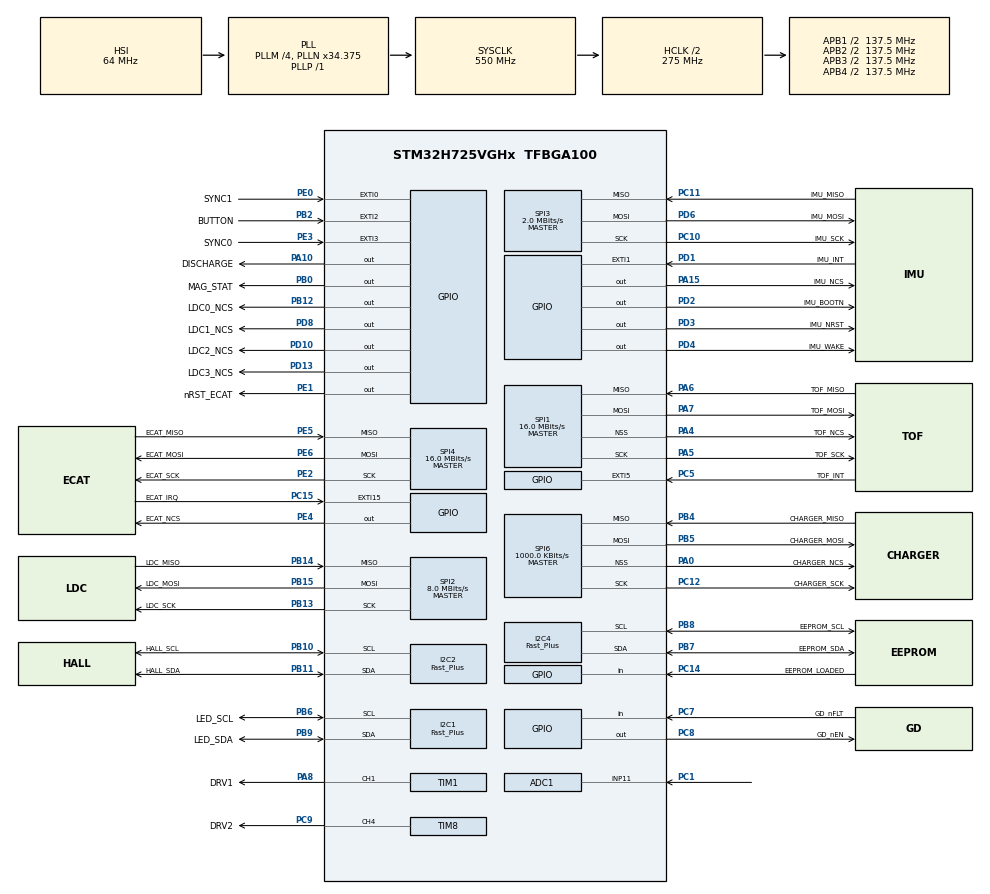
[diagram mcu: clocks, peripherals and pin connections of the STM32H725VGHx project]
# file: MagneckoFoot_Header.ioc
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ADC1.Channel-0\#ChannelRegularConversion=ADC_CHANNEL_11
ADC1.ContinuousConvMode=ENABLE
ADC1.ConversionDataManagement=ADC_CONVERSIONDATA_DMA_CIRCULAR
ADC1.ExternalTrigConv=ADC_SOFTWARE_START
ADC1.ExternalTrigConvEdge=ADC_EXTERNALTRIGCONVEDGE_NONE
ADC1.NbrOfConversionFlag=1
ADC1.OffsetNumber-0\#ChannelRegularConversion=ADC_OFFSET_NONE
ADC1.OffsetSignedSaturation-0\#ChannelRegularConversion=DISABLE
ADC1.Overrun=ADC_OVR_DATA_OVERWRITTEN
ADC1.OversamplingMode=DISABLE
ADC1.Rank-0\#ChannelRegularConversion=1
ADC1.Resolution=ADC_RESOLUTION_12B
ADC1.SamplingTime-0\#ChannelRegularConversion=ADC_SAMPLETIME_1CYCLE_5
ADC1.master=1
Bdma.Request0=SPI6_RX
Bdma.Request1=SPI6_TX
Bdma.RequestsNb=2
Bdma.SPI6_RX.0.Direction=DMA_PERIPH_TO_MEMORY
Bdma.SPI6_RX.0.EventEnable=DISABLE
Bdma.SPI6_RX.0.Instance=BDMA_Channel0
Bdma.SPI6_RX.0.MemDataAlignment=DMA_MDATAALIGN_BYTE
Bdma.SPI6_RX.0.MemInc=DMA_MINC_ENABLE
Bdma.SPI6_RX.0.Mode=DMA_NORMAL
Bdma.SPI6_RX.0.PeriphDataAlignment=DMA_PDATAALIGN_BYTE
Bdma.SPI6_RX.0.PeriphInc=DMA_PINC_DISABLE
Bdma.SPI6_RX.0.Polarity=HAL_DMAMUX_REQ_GEN_RISING
Bdma.SPI6_RX.0.Priority=DMA_PRIORITY_LOW
Bdma.SPI6_RX.0.RequestNumber=1
Bdma.SPI6_RX.0.SignalID=NONE
Bdma.SPI6_RX.0.SyncEnable=DISABLE
Bdma.SPI6_RX.0.SyncPolarity=HAL_DMAMUX_SYNC_NO_EVENT
Bdma.SPI6_RX.0.SyncRequestNumber=1
Bdma.SPI6_RX.0.SyncSignalID=NONE
Bdma.SPI6_TX.1.Direction=DMA_MEMORY_TO_PERIPH
Bdma.SPI6_TX.1.EventEnable=DISABLE
Bdma.SPI6_TX.1.Instance=BDMA_Channel1
Bdma.SPI6_TX.1.MemDataAlignment=DMA_MDATAALIGN_BYTE
Bdma.SPI6_TX.1.MemInc=DMA_MINC_ENABLE
Bdma.SPI6_TX.1.Mode=DMA_NORMAL
Bdma.SPI6_TX.1.PeriphDataAlignment=DMA_PDATAALIGN_BYTE
Bdma.SPI6_TX.1.PeriphInc=DMA_PINC_DISABLE
Bdma.SPI6_TX.1.Polarity=HAL_DMAMUX_REQ_GEN_RISING
Bdma.SPI6_TX.1.Priority=DMA_PRIORITY_LOW
Bdma.SPI6_TX.1.RequestNumber=1
Bdma.SPI6_TX.1.SignalID=NONE
Bdma.SPI6_TX.1.SyncEnable=DISABLE
Bdma.SPI6_TX.1.SyncPolarity=HAL_DMAMUX_SYNC_NO_EVENT
Bdma.SPI6_TX.1.SyncRequestNumber=1
Bdma.SPI6_TX.1.SyncSignalID=NONE
CORTEX_M7.default_mode_Activation=1
CRC.DefaultPolynomialUse=DEFAULT_POLYNOMIAL_ENABLE
Dma.ADC1.10.Direction=DMA_PERIPH_TO_MEMORY
Dma.ADC1.10.EventEnable=DISABLE
Dma.ADC1.10.FIFOMode=DMA_FIFOMODE_DISABLE
Dma.ADC1.10.Instance=DMA2_Stream2
Dma.ADC1.10.MemDataAlignment=DMA_MDATAALIGN_HALFWORD
Dma.ADC1.10.MemInc=DMA_MINC_ENABLE
Dma.ADC1.10.Mode=DMA_CIRCULAR
Dma.ADC1.10.PeriphDataAlignment=DMA_PDATAALIGN_HALFWORD
Dma.ADC1.10.PeriphInc=DMA_PINC_DISABLE
Dma.ADC1.10.Polarity=HAL_DMAMUX_REQ_GEN_RISING
Dma.ADC1.10.Priority=DMA_PRIORITY_LOW
Dma.ADC1.10.RequestNumber=1
Dma.ADC1.10.SignalID=NONE
Dma.ADC1.10.SyncEnable=DISABLE
Dma.ADC1.10.SyncPolarity=HAL_DMAMUX_SYNC_NO_EVENT
Dma.ADC1.10.SyncRequestNumber=1
Dma.ADC1.10.SyncSignalID=NONE
Dma.I2C1_RX.6.Direction=DMA_PERIPH_TO_MEMORY
Dma.I2C1_RX.6.EventEnable=DISABLE
Dma.I2C1_RX.6.FIFOMode=DMA_FIFOMODE_DISABLE
Dma.I2C1_RX.6.Instance=DMA1_Stream6
Dma.I2C1_RX.6.MemDataAlignment=DMA_MDATAALIGN_BYTE
Dma.I2C1_RX.6.MemInc=DMA_MINC_ENABLE
Dma.I2C1_RX.6.Mode=DMA_NORMAL
Dma.I2C1_RX.6.PeriphDataAlignment=DMA_PDATAALIGN_BYTE
Dma.I2C1_RX.6.PeriphInc=DMA_PINC_DISABLE
Dma.I2C1_RX.6.Polarity=HAL_DMAMUX_REQ_GEN_RISING
Dma.I2C1_RX.6.Priority=DMA_PRIORITY_LOW
Dma.I2C1_RX.6.RequestNumber=1
Dma.I2C1_RX.6.SignalID=NONE
Dma.I2C1_RX.6.SyncEnable=DISABLE
Dma.I2C1_RX.6.SyncPolarity=HAL_DMAMUX_SYNC_NO_EVENT
Dma.I2C1_RX.6.SyncRequestNumber=1
Dma.I2C1_RX.6.SyncSignalID=NONE
Dma.I2C1_TX.7.Direction=DMA_MEMORY_TO_PERIPH
Dma.I2C1_TX.7.EventEnable=DISABLE
Dma.I2C1_TX.7.FIFOMode=DMA_FIFOMODE_DISABLE
Dma.I2C1_TX.7.Instance=DMA1_Stream7
Dma.I2C1_TX.7.MemDataAlignment=DMA_MDATAALIGN_BYTE
Dma.I2C1_TX.7.MemInc=DMA_MINC_ENABLE
Dma.I2C1_TX.7.Mode=DMA_NORMAL
Dma.I2C1_TX.7.PeriphDataAlignment=DMA_PDATAALIGN_BYTE
Dma.I2C1_TX.7.PeriphInc=DMA_PINC_DISABLE
Dma.I2C1_TX.7.Polarity=HAL_DMAMUX_REQ_GEN_RISING
Dma.I2C1_TX.7.Priority=DMA_PRIORITY_LOW
Dma.I2C1_TX.7.RequestNumber=1
Dma.I2C1_TX.7.SignalID=NONE
Dma.I2C1_TX.7.SyncEnable=DISABLE
Dma.I2C1_TX.7.SyncPolarity=HAL_DMAMUX_SYNC_NO_EVENT
Dma.I2C1_TX.7.SyncRequestNumber=1
Dma.I2C1_TX.7.SyncSignalID=NONE
Dma.I2C2_RX.8.Direction=DMA_PERIPH_TO_MEMORY
Dma.I2C2_RX.8.EventEnable=DISABLE
Dma.I2C2_RX.8.FIFOMode=DMA_FIFOMODE_DISABLE
Dma.I2C2_RX.8.Instance=DMA2_Stream0
Dma.I2C2_RX.8.MemDataAlignment=DMA_MDATAALIGN_BYTE
Dma.I2C2_RX.8.MemInc=DMA_MINC_ENABLE
Dma.I2C2_RX.8.Mode=DMA_NORMAL
Dma.I2C2_RX.8.PeriphDataAlignment=DMA_PDATAALIGN_BYTE
Dma.I2C2_RX.8.PeriphInc=DMA_PINC_DISABLE
Dma.I2C2_RX.8.Polarity=HAL_DMAMUX_REQ_GEN_RISING
Dma.I2C2_RX.8.Priority=DMA_PRIORITY_LOW
Dma.I2C2_RX.8.RequestNumber=1
Dma.I2C2_RX.8.SignalID=NONE
Dma.I2C2_RX.8.SyncEnable=DISABLE
Dma.I2C2_RX.8.SyncPolarity=HAL_DMAMUX_SYNC_NO_EVENT
Dma.I2C2_RX.8.SyncRequestNumber=1
Dma.I2C2_RX.8.SyncSignalID=NONE
Dma.I2C2_TX.9.Direction=DMA_MEMORY_TO_PERIPH
Dma.I2C2_TX.9.EventEnable=DISABLE
Dma.I2C2_TX.9.FIFOMode=DMA_FIFOMODE_DISABLE
Dma.I2C2_TX.9.Instance=DMA2_Stream1
Dma.I2C2_TX.9.MemDataAlignment=DMA_MDATAALIGN_BYTE
Dma.I2C2_TX.9.MemInc=DMA_MINC_ENABLE
Dma.I2C2_TX.9.Mode=DMA_NORMAL
Dma.I2C2_TX.9.PeriphDataAlignment=DMA_PDATAALIGN_BYTE
Dma.I2C2_TX.9.PeriphInc=DMA_PINC_DISABLE
Dma.I2C2_TX.9.Polarity=HAL_DMAMUX_REQ_GEN_RISING
Dma.I2C2_TX.9.Priority=DMA_PRIORITY_LOW
Dma.I2C2_TX.9.RequestNumber=1
Dma.I2C2_TX.9.SignalID=NONE
Dma.I2C2_TX.9.SyncEnable=DISABLE
Dma.I2C2_TX.9.SyncPolarity=HAL_DMAMUX_SYNC_NO_EVENT
Dma.I2C2_TX.9.SyncRequestNumber=1
Dma.I2C2_TX.9.SyncSignalID=NONE
Dma.Request0=SPI1_RX
Dma.Request1=SPI1_TX
Dma.Request10=ADC1
Dma.Request2=SPI2_RX
Dma.Request3=SPI2_TX
Dma.Request4=SPI3_RX
Dma.Request5=SPI3_TX
Dma.Request6=I2C1_RX
Dma.Request7=I2C1_TX
Dma.Request8=I2C2_RX
Dma.Request9=I2C2_TX
Dma.SPI1_RX.0.Direction=DMA_PERIPH_TO_MEMORY
Dma.SPI1_RX.0.EventEnable=DISABLE
Dma.SPI1_RX.0.FIFOMode=DMA_FIFOMODE_DISABLE
Dma.SPI1_RX.0.Instance=DMA1_Stream0
Dma.SPI1_RX.0.MemDataAlignment=DMA_MDATAALIGN_BYTE
Dma.SPI1_RX.0.MemInc=DMA_MINC_ENABLE
Dma.SPI1_RX.0.Mode=DMA_NORMAL
Dma.SPI1_RX.0.PeriphDataAlignment=DMA_PDATAALIGN_BYTE
Dma.SPI1_RX.0.PeriphInc=DMA_PINC_DISABLE
Dma.SPI1_RX.0.Polarity=HAL_DMAMUX_REQ_GEN_RISING
Dma.SPI1_RX.0.Priority=DMA_PRIORITY_LOW
Dma.SPI1_RX.0.RequestNumber=1
Dma.SPI1_RX.0.SignalID=NONE
Dma.SPI1_RX.0.SyncEnable=DISABLE
Dma.SPI1_RX.0.SyncPolarity=HAL_DMAMUX_SYNC_NO_EVENT
Dma.SPI1_RX.0.SyncRequestNumber=1
Dma.SPI1_RX.0.SyncSignalID=NONE
Dma.SPI1_TX.1.Direction=DMA_MEMORY_TO_PERIPH
Dma.SPI1_TX.1.EventEnable=DISABLE
Dma.SPI1_TX.1.FIFOMode=DMA_FIFOMODE_DISABLE
Dma.SPI1_TX.1.Instance=DMA1_Stream1
Dma.SPI1_TX.1.MemDataAlignment=DMA_MDATAALIGN_BYTE
Dma.SPI1_TX.1.MemInc=DMA_MINC_ENABLE
Dma.SPI1_TX.1.Mode=DMA_NORMAL
Dma.SPI1_TX.1.PeriphDataAlignment=DMA_PDATAALIGN_BYTE
Dma.SPI1_TX.1.PeriphInc=DMA_PINC_DISABLE
Dma.SPI1_TX.1.Polarity=HAL_DMAMUX_REQ_GEN_RISING
Dma.SPI1_TX.1.Priority=DMA_PRIORITY_LOW
Dma.SPI1_TX.1.RequestNumber=1
Dma.SPI1_TX.1.SignalID=NONE
Dma.SPI1_TX.1.SyncEnable=DISABLE
Dma.SPI1_TX.1.SyncPolarity=HAL_DMAMUX_SYNC_NO_EVENT
Dma.SPI1_TX.1.SyncRequestNumber=1
Dma.SPI1_TX.1.SyncSignalID=NONE
Dma.SPI2_RX.2.Direction=DMA_PERIPH_TO_MEMORY
Dma.SPI2_RX.2.EventEnable=DISABLE
Dma.SPI2_RX.2.FIFOMode=DMA_FIFOMODE_DISABLE
Dma.SPI2_RX.2.Instance=DMA1_Stream2
Dma.SPI2_RX.2.MemDataAlignment=DMA_MDATAALIGN_BYTE
Dma.SPI2_RX.2.MemInc=DMA_MINC_ENABLE
Dma.SPI2_RX.2.Mode=DMA_NORMAL
Dma.SPI2_RX.2.PeriphDataAlignment=DMA_PDATAALIGN_BYTE
Dma.SPI2_RX.2.PeriphInc=DMA_PINC_DISABLE
Dma.SPI2_RX.2.Polarity=HAL_DMAMUX_REQ_GEN_RISING
Dma.SPI2_RX.2.Priority=DMA_PRIORITY_LOW
Dma.SPI2_RX.2.RequestNumber=1
Dma.SPI2_RX.2.SignalID=NONE
Dma.SPI2_RX.2.SyncEnable=DISABLE
Dma.SPI2_RX.2.SyncPolarity=HAL_DMAMUX_SYNC_NO_EVENT
Dma.SPI2_RX.2.SyncRequestNumber=1
Dma.SPI2_RX.2.SyncSignalID=NONE
Dma.SPI2_TX.3.Direction=DMA_MEMORY_TO_PERIPH
Dma.SPI2_TX.3.EventEnable=DISABLE
Dma.SPI2_TX.3.FIFOMode=DMA_FIFOMODE_DISABLE
Dma.SPI2_TX.3.Instance=DMA1_Stream3
Dma.SPI2_TX.3.MemDataAlignment=DMA_MDATAALIGN_BYTE
Dma.SPI2_TX.3.MemInc=DMA_MINC_ENABLE
Dma.SPI2_TX.3.Mode=DMA_NORMAL
Dma.SPI2_TX.3.PeriphDataAlignment=DMA_PDATAALIGN_BYTE
Dma.SPI2_TX.3.PeriphInc=DMA_PINC_DISABLE
Dma.SPI2_TX.3.Polarity=HAL_DMAMUX_REQ_GEN_RISING
Dma.SPI2_TX.3.Priority=DMA_PRIORITY_LOW
Dma.SPI2_TX.3.RequestNumber=1
Dma.SPI2_TX.3.SignalID=NONE
Dma.SPI2_TX.3.SyncEnable=DISABLE
Dma.SPI2_TX.3.SyncPolarity=HAL_DMAMUX_SYNC_NO_EVENT
Dma.SPI2_TX.3.SyncRequestNumber=1
Dma.SPI2_TX.3.SyncSignalID=NONE
Dma.SPI3_RX.4.Direction=DMA_PERIPH_TO_MEMORY
Dma.SPI3_RX.4.EventEnable=DISABLE
Dma.SPI3_RX.4.FIFOMode=DMA_FIFOMODE_DISABLE
Dma.SPI3_RX.4.Instance=DMA1_Stream4
Dma.SPI3_RX.4.MemDataAlignment=DMA_MDATAALIGN_BYTE
Dma.SPI3_RX.4.MemInc=DMA_MINC_ENABLE
Dma.SPI3_RX.4.Mode=DMA_NORMAL
Dma.SPI3_RX.4.PeriphDataAlignment=DMA_PDATAALIGN_BYTE
Dma.SPI3_RX.4.PeriphInc=DMA_PINC_DISABLE
Dma.SPI3_RX.4.Polarity=HAL_DMAMUX_REQ_GEN_RISING
Dma.SPI3_RX.4.Priority=DMA_PRIORITY_LOW
Dma.SPI3_RX.4.RequestNumber=1
Dma.SPI3_RX.4.SignalID=NONE
Dma.SPI3_RX.4.SyncEnable=DISABLE
Dma.SPI3_RX.4.SyncPolarity=HAL_DMAMUX_SYNC_NO_EVENT
Dma.SPI3_RX.4.SyncRequestNumber=1
Dma.SPI3_RX.4.SyncSignalID=NONE
Dma.SPI3_TX.5.Direction=DMA_MEMORY_TO_PERIPH
Dma.SPI3_TX.5.EventEnable=DISABLE
Dma.SPI3_TX.5.FIFOMode=DMA_FIFOMODE_DISABLE
Dma.SPI3_TX.5.Instance=DMA1_Stream5
Dma.SPI3_TX.5.MemDataAlignment=DMA_MDATAALIGN_BYTE
Dma.SPI3_TX.5.MemInc=DMA_MINC_ENABLE
Dma.SPI3_TX.5.Mode=DMA_NORMAL
Dma.SPI3_TX.5.PeriphDataAlignment=DMA_PDATAALIGN_BYTE
Dma.SPI3_TX.5.PeriphInc=DMA_PINC_DISABLE
Dma.SPI3_TX.5.Polarity=HAL_DMAMUX_REQ_GEN_RISING
Dma.SPI3_TX.5.Priority=DMA_PRIORITY_LOW
Dma.SPI3_TX.5.RequestNumber=1
Dma.SPI3_TX.5.SignalID=NONE
Dma.SPI3_TX.5.SyncEnable=DISABLE
Dma.SPI3_TX.5.SyncPolarity=HAL_DMAMUX_SYNC_NO_EVENT
Dma.SPI3_TX.5.SyncRequestNumber=1
Dma.SPI3_TX.5.SyncSignalID=NONE
I2C1.I2C_Speed_Mode=I2C_Fast_Plus
I2C1.Timing=0x00601A5C
I2C2.Analog_Filter=I2C_ANALOGFILTER_DISABLE
I2C2.I2C_Fall_Time=55
I2C2.I2C_Rise_Time=120
I2C2.I2C_Speed_Mode=I2C_Fast_Plus
I2C2.OwnAddress=127
I2C2.Timing=0x10B01025
I2C4.I2C_Speed_Mode=I2C_Fast_Plus
I2C4.Timing=0x00601A5C
Mcu.Family=STM32H7
Mcu.Name=STM32H725VGHx
Mcu.Package=TFBGA100
NVIC.BDMA_Channel0_IRQn=true\:6\:0\:true\:false\:true\:false\:true\:true
NVIC.BDMA_Channel1_IRQn=true\:6\:0\:true\:false\:true\:false\:true\:true
NVIC.DMA1_Stream0_IRQn=true\:6\:0\:true\:false\:true\:false\:true\:true
NVIC.DMA1_Stream1_IRQn=true\:6\:0\:true\:false\:true\:false\:true\:true
NVIC.DMA1_Stream2_IRQn=true\:6\:0\:true\:false\:true\:false\:true\:true
NVIC.DMA1_Stream3_IRQn=true\:6\:0\:true\:false\:true\:false\:true\:true
NVIC.DMA1_Stream4_IRQn=true\:6\:0\:true\:false\:true\:false\:true\:true
NVIC.DMA1_Stream5_IRQn=true\:6\:0\:true\:false\:true\:false\:true\:true
NVIC.DMA1_Stream6_IRQn=true\:6\:0\:true\:false\:true\:false\:true\:true
NVIC.DMA1_Stream7_IRQn=true\:6\:0\:false\:false\:true\:false\:true\:true
NVIC.DMA2_Stream0_IRQn=true\:6\:0\:true\:false\:true\:false\:true\:true
NVIC.DMA2_Stream1_IRQn=true\:6\:0\:true\:false\:true\:false\:true\:true
NVIC.EXTI1_IRQn=true\:6\:0\:true\:false\:true\:true\:true\:true
NVIC.EXTI2_IRQn=true\:6\:0\:true\:false\:true\:true\:true\:true
NVIC.EXTI9_5_IRQn=true\:6\:0\:true\:false\:true\:true\:true\:true
NVIC.I2C1_ER_IRQn=true\:6\:0\:false\:false\:true\:true\:true\:true
NVIC.I2C1_EV_IRQn=true\:6\:0\:false\:false\:true\:true\:true\:true
NVIC.I2C2_ER_IRQn=true\:6\:0\:true\:false\:true\:true\:true\:true
NVIC.I2C4_EV_IRQn=true\:6\:0\:true\:false\:true\:true\:true\:true
NVIC.I2C4_ER_IRQn=true\:6\:0\:true\:false\:true\:true\:true\:true
NVIC.I2C2_EV_IRQn=true\:6\:0\:true\:false\:true\:true\:true\:true
NVIC.PriorityGroup=NVIC_PRIORITYGROUP_4
NVIC.SPI1_IRQn=true\:6\:0\:true\:false\:true\:false\:true\:true
NVIC.SPI2_IRQn=true\:6\:0\:true\:false\:true\:false\:true\:true
NVIC.SPI4_IRQn=true\:6\:0\:true\:false\:true\:true\:true\:true
NVIC.SPI3_IRQn=true\:6\:0\:true\:false\:true\:false\:true\:true
NVIC.SPI6_IRQn=true\:6\:0\:true\:false\:true\:false\:true\:true
NVIC.TIM2_IRQn=true\:5\:0\:true\:false\:true\:true\:true\:true
NVIC.TIM4_IRQn=true\:6\:0\:true\:false\:true\:true\:true\:true
NVIC.TIM5_IRQn=true\:6\:0\:true\:false\:true\:true\:true\:true
NVIC.TIM6_DAC_IRQn=true\:6\:0\:true\:false\:true\:true\:true\:true
PA0.GPIO_Label=CHARGER_NCS
PA0.Mode=NSS_Signal_Hard_Output
PA0.Signal=SPI6_NSS
PA10.GPIO_Label=DISCHARGE
PA10.Signal=GPIO_Output
PA13(JTMS/SWDIO).Mode=Trace_Asynchronous_SW
PA13(JTMS/SWDIO).Signal=DEBUG_JTMS-SWDIO
PA14(JTCK/SWCLK).Mode=Trace_Asynchronous_SW
PA14(JTCK/SWCLK).Signal=DEBUG_JTCK-SWCLK
PA15(JTDI).GPIO_Label=IMU_NCS
PA15(JTDI).PinState=GPIO_PIN_SET
PA15(JTDI).Signal=GPIO_Output
PA4.GPIO_Label=TOF_NCS
PA4.Mode=NSS_Signal_Hard_Output
PA4.Signal=SPI1_NSS
PA5.GPIO_Label=TOF_SCK
PA5.Mode=Full_Duplex_Master
PA5.Signal=SPI1_SCK
PA6.GPIO_Label=TOF_MISO
PA6.Mode=Full_Duplex_Master
PA6.Signal=SPI1_MISO
PA7.GPIO_Label=TOF_MOSI
PA7.Mode=Full_Duplex_Master
PA7.Signal=SPI1_MOSI
PA8.GPIO_Label=DRV1
PA8.Signal=S_TIM1_CH1
PB0.GPIO_Label=MAG_STAT
PB0.Signal=GPIO_Output
PB10.GPIO_Label=HALL_SCL
PB10.Mode=I2C
PB10.Signal=I2C2_SCL
PB11.GPIO_Label=HALL_SDA
PB11.Mode=I2C
PB11.Signal=I2C2_SDA
PB12.GPIO_Label=LDC0_NCS
PB12.GPIO_Speed=GPIO_SPEED_FREQ_HIGH
PB12.PinState=GPIO_PIN_SET
PB12.Signal=GPIO_Output
PB13.GPIO_Label=LDC_SCK
PB13.Mode=Full_Duplex_Master
PB13.Signal=SPI2_SCK
PB14.GPIO_Label=LDC_MISO
PB14.Mode=Full_Duplex_Master
PB14.Signal=SPI2_MISO
PB15.GPIO_Label=LDC_MOSI
PB15.Mode=Full_Duplex_Master
PB15.Signal=SPI2_MOSI
PB2.GPIO_Label=BUTTON
PB2.GPIO_ModeDefaultEXTI=GPIO_MODE_IT_RISING_FALLING
PB2.GPIO_PuPd=GPIO_PULLUP
PB2.Signal=GPXTI2
PB3(JTDO/TRACESWO).Mode=Trace_Asynchronous_SW
PB3(JTDO/TRACESWO).Signal=DEBUG_JTDO-SWO
PB4(NJTRST).GPIO_Label=CHARGER_MISO
PB4(NJTRST).Mode=Full_Duplex_Master
PB4(NJTRST).Signal=SPI6_MISO
PB5.GPIO_Label=CHARGER_MOSI
PB5.Mode=Full_Duplex_Master
PB5.Signal=SPI6_MOSI
PB6.GPIO_Label=LED_SCL
PB6.Mode=I2C
PB6.Signal=I2C1_SCL
PB7.GPIO_Label=EEPROM_SDA
PB7.Mode=I2C
PB7.Signal=I2C4_SDA
PB8.GPIO_Label=EEPROM_SCL
PB8.Mode=I2C
PB8.Signal=I2C4_SCL
PB9.GPIO_Label=LED_SDA
PB9.Mode=I2C
PB9.Signal=I2C1_SDA
PC1.Signal=ADCx_INP11
PC10.GPIO_Label=IMU_SCK
PC10.GPIO_Speed=GPIO_SPEED_FREQ_HIGH
PC10.Mode=Full_Duplex_Master
PC10.Signal=SPI3_SCK
PC11.GPIO_Label=IMU_MISO
PC11.GPIO_Speed=GPIO_SPEED_FREQ_HIGH
PC11.Mode=Full_Duplex_Master
PC11.Signal=SPI3_MISO
PC12.GPIO_Label=CHARGER_SCK
PC12.Mode=Full_Duplex_Master
PC12.Signal=SPI6_SCK
PC14-OSC32_IN.GPIO_Label=EEPROM_LOADED
PC14-OSC32_IN.Signal=GPIO_Input
PC15-OSC32_OUT.GPIO_Label=ECAT_IRQ
PC15-OSC32_OUT.Signal=GPXTI15
PC5.GPIO_Label=TOF_INT
PC5.GPIO_ModeDefaultEXTI=GPIO_MODE_IT_FALLING
PC5.Signal=GPXTI5
PC7.GPIO_Label=GD_nFLT
PC7.Signal=GPIO_Input
PC8.GPIO_Label=GD_nEN
PC8.GPIO_ModeDefaultOutputPP=GPIO_MODE_OUTPUT_OD
PC8.GPIO_PuPd=GPIO_NOPULL
PC8.PinState=GPIO_PIN_SET
PC8.Signal=GPIO_Output
PC9.GPIO_Label=DRV2
PC9.GPIO_PuPd=GPIO_PULLDOWN
PC9.Signal=S_TIM8_CH4
PD1.GPIO_Label=IMU_INT
PD1.GPIO_ModeDefaultEXTI=GPIO_MODE_IT_FALLING
PD1.Signal=GPXTI1
PD10.GPIO_Label=LDC2_NCS
PD10.GPIO_Speed=GPIO_SPEED_FREQ_HIGH
PD10.PinState=GPIO_PIN_SET
PD10.Signal=GPIO_Output
PD13.GPIO_Label=LDC3_NCS
PD13.GPIO_Speed=GPIO_SPEED_FREQ_HIGH
PD13.PinState=GPIO_PIN_SET
PD13.Signal=GPIO_Output
PD2.GPIO_Label=IMU_BOOTN
PD2.PinState=GPIO_PIN_SET
PD2.Signal=GPIO_Output
PD3.GPIO_Label=IMU_NRST
PD3.PinState=GPIO_PIN_SET
PD3.Signal=GPIO_Output
PD4.GPIO_Label=IMU_WAKE
PD4.PinState=GPIO_PIN_SET
PD4.Signal=GPIO_Output
PD6.GPIO_Label=IMU_MOSI
PD6.GPIO_Speed=GPIO_SPEED_FREQ_HIGH
PD6.Mode=Full_Duplex_Master
PD6.Signal=SPI3_MOSI
PD8.GPIO_Label=LDC1_NCS
PD8.GPIO_Speed=GPIO_SPEED_FREQ_HIGH
PD8.PinState=GPIO_PIN_SET
PD8.Signal=GPIO_Output
PE0.GPIO_Label=SYNC1
PE0.Signal=GPXTI0
PE1.GPIO_Label=nRST_ECAT
PE1.GPIO_ModeDefaultOutputPP=GPIO_MODE_OUTPUT_OD
PE1.GPIO_PuPd=GPIO_NOPULL
PE1.PinState=GPIO_PIN_SET
PE1.Signal=GPIO_Output
PE2.GPIO_Label=ECAT_SCK
PE2.Mode=Full_Duplex_Master
PE2.Signal=SPI4_SCK
PE3.GPIO_Label=SYNC0
PE3.Signal=GPXTI3
PE4.GPIO_Label=ECAT_NCS
PE4.GPIO_Speed=GPIO_SPEED_FREQ_HIGH
PE4.PinState=GPIO_PIN_SET
PE4.Signal=GPIO_Output
PE5.GPIO_Label=ECAT_MISO
PE5.Mode=Full_Duplex_Master
PE5.Signal=SPI4_MISO
PE6.GPIO_Label=ECAT_MOSI
PE6.Mode=Full_Duplex_Master
PE6.Signal=SPI4_MOSI
ProjectManager.HeapSize=0x200
ProjectManager.StackSize=0x400
ProjectManager.TargetToolchain=CMake
RCC.ADCFreq_Value=129000000
RCC.APB1Freq_Value=137500000
RCC.APB2Freq_Value=137500000
RCC.APB3Freq_Value=137500000
RCC.APB4Freq_Value=137500000
RCC.CortexFreq_Value=550000000
RCC.D1PPRE=RCC_APB3_DIV2
RCC.D2PPRE1=RCC_APB1_DIV2
RCC.D2PPRE2=RCC_APB2_DIV2
RCC.D3PPRE=RCC_APB4_DIV2
RCC.DIVM1=4
RCC.DIVN1=34
RCC.DIVP1=1
RCC.DIVQ1=3
RCC.HCLKFreq_Value=275000000
RCC.HPRE=RCC_HCLK_DIV2
RCC.PLL2FRACN=0
RCC.PLL3FRACN=0
RCC.PLLFRACN=3072
RCC.SPI123CLockSelection=RCC_SPI123CLKSOURCE_CLKP
RCC.SPI6CLockSelection=RCC_SPI6CLKSOURCE_HSI
RCC.SYSCLKFreq_VALUE=550000000
RCC.SYSCLKSource=RCC_SYSCLKSOURCE_PLLCLK
RCC.Spi45ClockSelection=RCC_SPI45CLKSOURCE_HSI
RCC.USBFreq_Value=183333333.33333334
SH.ADCx_INP11.0=ADC1_INP11,IN11-Single-Ended
SH.S_TIM1_CH1.0=TIM1_CH1,PWM Generation1 CH1
SH.S_TIM8_CH4.0=TIM8_CH4,PWM Generation4 CH4
SPI1.BaudRatePrescaler=SPI_BAUDRATEPRESCALER_4
SPI1.CalculateBaudRate=16.0 MBits/s
SPI1.DataSize=SPI_DATASIZE_8BIT
SPI1.Direction=SPI_DIRECTION_2LINES
SPI1.MasterKeepIOState=SPI_MASTER_KEEP_IO_STATE_ENABLE
SPI1.Mode=SPI_MODE_MASTER
SPI1.NSSPMode=SPI_NSS_PULSE_DISABLE
SPI1.VirtualNSS=VM_NSSHARD
SPI1.VirtualType=VM_MASTER
SPI2.BaudRatePrescaler=SPI_BAUDRATEPRESCALER_8
SPI2.CalculateBaudRate=8.0 MBits/s
SPI2.DataSize=SPI_DATASIZE_8BIT
SPI2.Direction=SPI_DIRECTION_2LINES
SPI2.FirstBit=SPI_FIRSTBIT_MSB
SPI2.MasterKeepIOState=SPI_MASTER_KEEP_IO_STATE_ENABLE
SPI2.Mode=SPI_MODE_MASTER
SPI2.NSSPMode=SPI_NSS_PULSE_DISABLE
SPI2.VirtualType=VM_MASTER
SPI3.BaudRatePrescaler=SPI_BAUDRATEPRESCALER_32
SPI3.CLKPhase=SPI_PHASE_2EDGE
SPI3.CLKPolarity=SPI_POLARITY_HIGH
SPI3.CalculateBaudRate=2.0 MBits/s
SPI3.DataSize=SPI_DATASIZE_8BIT
SPI3.Direction=SPI_DIRECTION_2LINES
SPI3.MasterKeepIOState=SPI_MASTER_KEEP_IO_STATE_ENABLE
SPI3.Mode=SPI_MODE_MASTER
SPI3.NSSPMode=SPI_NSS_PULSE_DISABLE
SPI3.VirtualType=VM_MASTER
SPI4.BaudRatePrescaler=SPI_BAUDRATEPRESCALER_4
SPI4.CLKPhase=SPI_PHASE_2EDGE
SPI4.CLKPolarity=SPI_POLARITY_HIGH
SPI4.CalculateBaudRate=16.0 MBits/s
SPI4.DataSize=SPI_DATASIZE_8BIT
SPI4.Direction=SPI_DIRECTION_2LINES
SPI4.MasterKeepIOState=SPI_MASTER_KEEP_IO_STATE_ENABLE
SPI4.Mode=SPI_MODE_MASTER
SPI4.NSSPMode=SPI_NSS_PULSE_DISABLE
SPI4.VirtualType=VM_MASTER
SPI6.BaudRatePrescaler=SPI_BAUDRATEPRESCALER_64
SPI6.CLKPhase=SPI_PHASE_2EDGE
SPI6.CLKPolarity=SPI_POLARITY_HIGH
SPI6.CalculateBaudRate=1000.0 KBits/s
SPI6.DataSize=SPI_DATASIZE_8BIT
SPI6.Direction=SPI_DIRECTION_2LINES
SPI6.MasterKeepIOState=SPI_MASTER_KEEP_IO_STATE_ENABLE
SPI6.Mode=SPI_MODE_MASTER
SPI6.NSSPMode=SPI_NSS_PULSE_DISABLE
SPI6.VirtualNSS=VM_NSSHARD
SPI6.VirtualType=VM_MASTER
TIM1.Channel-PWM\ Generation1\ CH1=TIM_CHANNEL_1
TIM1.OCPolarity_1=TIM_OCPOLARITY_LOW
TIM1.Period=20000
TIM1.Prescaler=275-1
TIM1.Pulse-PWM\ Generation1\ CH1=1000
TIM2.Period=1000-1
TIM2.Prescaler=275-1
TIM3.Period=20000
TIM3.Prescaler=275-1
TIM4.Period=2500-1
TIM4.Prescaler=275-1
TIM4.TIM_MasterOutputTrigger=TIM_TRGO_RESET
TIM5.Period=10000-1
TIM5.Prescaler=27500-1
TIM6.Prescaler=2750-1
TIM8.Channel-PWM\ Generation4\ CH4=TIM_CHANNEL_4
TIM8.OCPolarity_4=TIM_OCPOLARITY_LOW
TIM8.Period=20000
TIM8.Prescaler=275-1
TIM8.Pulse-PWM\ Generation4\ CH4=1000
VP_CRC_VS_CRC.Mode=CRC_Activate
VP_MEMORYMAP_VS_MEMORYMAP.Mode=CurAppReg
VP_TIM1_VS_ClockSourceINT.Mode=Internal
VP_TIM1_VS_OPM.Mode=OPM_bit
VP_TIM2_VS_ClockSourceINT.Mode=Internal
VP_TIM3_VS_OPM.Mode=OPM_bit
VP_TIM4_VS_ClockSourceINT.Mode=Internal
VP_TIM5_VS_ClockSourceINT.Mode=Internal
VP_TIM6_VS_ClockSourceINT.Mode=Enable_Timer
VP_TIM8_VS_ClockSourceINT.Mode=Internal
VP_TIM8_VS_OPM.Mode=OPM_bit
board=custom

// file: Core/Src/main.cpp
/* USER CODE BEGIN Header */
/**
  ******************************************************************************
  * @file           : main.c
  * @brief          : Main program body
  ******************************************************************************
  * @attention
  *
  * Copyright (c) 2025 STMicroelectronics.
  * All rights reserved.
  *
  * This software is licensed under terms that can be found in the LICENSE file
  * in the root directory of this software component.
  * If no LICENSE file comes with this software, it is provided AS-IS.
  *
  ******************************************************************************
  */
/* USER CODE END Header */
#include "main.h"
#include "adc.h"
#include "bdma.h"
#include "crc.h"
#include "dma.h"
#include "i2c.h"
#include "spi.h"
#include "tim.h"
#include "gpio.h"

/* USER CODE BEGIN Includes */
#include "FootController.h"
#include "app_runtime.h"
#include "utils.h"
#include <stdio.h>
#include <cstring>

/* USER CODE END Includes */

/* USER CODE BEGIN PV */
_Objects Obj = {};
FootController __attribute__((section(".RAM"))) controller = FootController();

/* USER CODE END PV */

void SystemClock_Config(void);
void PeriphCommonClock_Config(void);
static void MPU_Config(void);
/* USER CODE BEGIN PFP */

/**
 * This function is called when to get input values
 */
void cb_get_inputs()
{
  controller.fsm_.setControlWord(Obj.Control_Word);

  //Magnetize on GPIO0 rising edge
  if((Obj.Magnet_Command & 0x01) && !controller.prev_mag)
  {
    controller.requested_magnetization = true; //Set requested magnetization state
  }
  if((Obj.Magnet_Command & 0x02) && !controller.prev_demag)
  {
    controller.requested_demagnetization = true; //Set requested demagnetization state
  }
  if(controller.requested_magnetization && controller.requested_demagnetization)
  {
    //If both magnetization and demagnetization are requested, reset both states
    controller.requested_magnetization = false;
    controller.requested_demagnetization = false;
  }

  controller.prev_mag = static_cast<bool>(Obj.Magnet_Command & 0x01);
  controller.prev_demag = static_cast<bool>(Obj.Magnet_Command & 0x02);
}

/**
* This function is called when to set outputs values
 */
void cb_set_outputs()
{
  Obj.Status_Word = controller.fsm_.getStatusWord();

}

/* USER CODE END PFP */

int main(void)
{

  /* MPU Configuration--------------------------------------------------------*/
  MPU_Config();

  /* MCU Configuration--------------------------------------------------------*/

  /* Reset of all peripherals, Initializes the Flash interface and the Systick. */
  HAL_Init();

  /* Configure the system clock */
  SystemClock_Config();

  /* Configure the peripherals common clocks */
  PeriphCommonClock_Config();

  /* Initialize all configured peripherals */
  MX_GPIO_Init();
  MX_DMA_Init();
  MX_BDMA_Init();
  MX_I2C1_Init();
  MX_I2C2_Init();
  MX_SPI1_Init();
  MX_SPI2_Init();
  MX_SPI3_Init();
  MX_SPI4_Init();
  MX_SPI6_Init();
  MX_TIM3_Init();
  MX_TIM1_Init();
  MX_TIM2_Init();
  MX_TIM4_Init();
  MX_TIM5_Init();
  MX_ADC1_Init();
  MX_I2C4_Init();
  MX_TIM6_Init();
  MX_TIM8_Init();
  MX_CRC_Init();
  /* USER CODE BEGIN 2 */
  SWD_Init();
  App_Start();

  /* USER CODE END 2 */

  /* Infinite loop */
  /* USER CODE BEGIN WHILE */
  while (1) { } // App_Start() does not return.
  /* USER CODE END 3 */
}

void SystemClock_Config(void)
{
  RCC_OscInitTypeDef RCC_OscInitStruct = {0};
  RCC_ClkInitTypeDef RCC_ClkInitStruct = {0};

  /** Supply configuration update enable
  */
  HAL_PWREx_ConfigSupply(PWR_DIRECT_SMPS_SUPPLY);

  /** Configure the main internal regulator output voltage
  */
  __HAL_PWR_VOLTAGESCALING_CONFIG(PWR_REGULATOR_VOLTAGE_SCALE0);

  while(!__HAL_PWR_GET_FLAG(PWR_FLAG_VOSRDY)) {}

  /** Initializes the RCC Oscillators according to the specified parameters
  * in the RCC_OscInitTypeDef structure.
  */
  RCC_OscInitStruct.OscillatorType = RCC_OSCILLATORTYPE_HSI;
  RCC_OscInitStruct.HSIState = RCC_HSI_DIV1;
  RCC_OscInitStruct.HSICalibrationValue = 64;
  RCC_OscInitStruct.PLL.PLLState = RCC_PLL_ON;
  RCC_OscInitStruct.PLL.PLLSource = RCC_PLLSOURCE_HSI;
  RCC_OscInitStruct.PLL.PLLM = 4;
  RCC_OscInitStruct.PLL.PLLN = 34;
  RCC_OscInitStruct.PLL.PLLP = 1;
  RCC_OscInitStruct.PLL.PLLQ = 3;
  RCC_OscInitStruct.PLL.PLLR = 2;
  RCC_OscInitStruct.PLL.PLLRGE = RCC_PLL1VCIRANGE_3;
  RCC_OscInitStruct.PLL.PLLVCOSEL = RCC_PLL1VCOWIDE;
  RCC_OscInitStruct.PLL.PLLFRACN = 3072;
  if (HAL_RCC_OscConfig(&RCC_OscInitStruct) != HAL_OK)
  {
    Error_Handler();
  }

  /** Initializes the CPU, AHB and APB buses clocks
  */
  RCC_ClkInitStruct.ClockType = RCC_CLOCKTYPE_HCLK|RCC_CLOCKTYPE_SYSCLK
                              |RCC_CLOCKTYPE_PCLK1|RCC_CLOCKTYPE_PCLK2
                              |RCC_CLOCKTYPE_D3PCLK1|RCC_CLOCKTYPE_D1PCLK1;
  RCC_ClkInitStruct.SYSCLKSource = RCC_SYSCLKSOURCE_PLLCLK;
  RCC_ClkInitStruct.SYSCLKDivider = RCC_SYSCLK_DIV1;
  RCC_ClkInitStruct.AHBCLKDivider = RCC_HCLK_DIV2;
  RCC_ClkInitStruct.APB3CLKDivider = RCC_APB3_DIV2;
  RCC_ClkInitStruct.APB1CLKDivider = RCC_APB1_DIV2;
  RCC_ClkInitStruct.APB2CLKDivider = RCC_APB2_DIV2;
  RCC_ClkInitStruct.APB4CLKDivider = RCC_APB4_DIV2;

  if (HAL_RCC_ClockConfig(&RCC_ClkInitStruct, FLASH_LATENCY_3) != HAL_OK)
  {
    Error_Handler();
  }
}

void PeriphCommonClock_Config(void)
{
  RCC_PeriphCLKInitTypeDef PeriphClkInitStruct = {0};

  /** Initializes the peripherals clock
  */
  PeriphClkInitStruct.PeriphClockSelection = RCC_PERIPHCLK_CKPER;
  PeriphClkInitStruct.CkperClockSelection = RCC_CLKPSOURCE_HSI;
  if (HAL_RCCEx_PeriphCLKConfig(&PeriphClkInitStruct) != HAL_OK)
  {
    Error_Handler();
  }
}

/* USER CODE BEGIN 4 */
void HAL_GPIO_EXTI_Callback(uint16_t pin)
{
  if (pin == IMU_INT_Pin) App_ImuReadyISR();
  else if (pin == TOF_INT_Pin) App_TofReadyISR();
  else if (pin == BUTTON_Pin && App_IsReady()) {
    if (HAL_GPIO_ReadPin(BUTTON_GPIO_Port, BUTTON_Pin) == GPIO_PIN_RESET) {
      TIM_BUTTON->Instance->CNT = 0;
      __HAL_TIM_CLEAR_FLAG(TIM_BUTTON, TIM_FLAG_UPDATE);
      HAL_TIM_Base_Start_IT(TIM_BUTTON);
    } else HAL_TIM_Base_Stop_IT(TIM_BUTTON);
  }
}

void HAL_TIM_PeriodElapsedCallback(TIM_HandleTypeDef *timer)
{
  if (timer == TIM_CONTROL) App_ControlTickISR();
  else if (timer == TIM_BUTTON) {
    HAL_TIM_Base_Stop_IT(timer);
    App_ButtonHeldISR();
  } else if (timer == DEAD_TIME_TIMER) {
    HAL_TIM_Base_Stop_IT(timer);
    App_DeadTimeISR();
  }
}

void HAL_SPI_TxRxCpltCallback(SPI_HandleTypeDef *spi) { App_SpiCompleteISR(spi, HAL_OK); }
void HAL_SPI_TxCpltCallback(SPI_HandleTypeDef *spi) { App_SpiCompleteISR(spi, HAL_OK); }
void HAL_SPI_RxCpltCallback(SPI_HandleTypeDef *spi) { App_SpiCompleteISR(spi, HAL_OK); }
void HAL_SPI_ErrorCallback(SPI_HandleTypeDef *spi) { App_SpiCompleteISR(spi, HAL_ERROR); }
void HAL_I2C_MemRxCpltCallback(I2C_HandleTypeDef *i2c) { App_I2cCompleteISR(i2c, HAL_OK); }
void HAL_I2C_MemTxCpltCallback(I2C_HandleTypeDef *i2c) { App_I2cCompleteISR(i2c, HAL_OK); }
void HAL_I2C_MasterRxCpltCallback(I2C_HandleTypeDef *i2c) { App_I2cCompleteISR(i2c, HAL_OK); }
void HAL_I2C_MasterTxCpltCallback(I2C_HandleTypeDef *i2c) { App_I2cCompleteISR(i2c, HAL_OK); }
void HAL_I2C_ErrorCallback(I2C_HandleTypeDef *i2c) { App_I2cCompleteISR(i2c, HAL_ERROR); }

/* SOES invokes this in its sole owning task when process outputs stop.
   Preserve attachment: inhibit commands/discharge, never issue a release pulse. */
extern "C" void cb_safe_outputs()
{
  Obj.Control_Word = 0;
  Obj.Magnet_Command = 0;
  controller.fsm_.setControlWord(0);
  controller.requested_magnetization = false;
  controller.requested_demagnetization = false;
  controller.prev_mag = controller.prev_demag = false;
  controller.charger.tx_data.enable = 0;
  HAL_GPIO_WritePin(DISCHARGE_GPIO_Port, DISCHARGE_Pin, GPIO_PIN_RESET);
}

/* USER CODE END 4 */

 /* MPU Configuration */

void MPU_Config(void)
{
  MPU_Region_InitTypeDef MPU_InitStruct = {0};

  /* Disables the MPU */
  HAL_MPU_Disable();

  /** Initializes and configures the Region and the memory to be protected
  */
  MPU_InitStruct.Enable = MPU_REGION_ENABLE;
  MPU_InitStruct.Number = MPU_REGION_NUMBER0;
  MPU_InitStruct.BaseAddress = 0x0;
  MPU_InitStruct.Size = MPU_REGION_SIZE_4GB;
  MPU_InitStruct.SubRegionDisable = 0x87;
  MPU_InitStruct.TypeExtField = MPU_TEX_LEVEL0;
  MPU_InitStruct.AccessPermission = MPU_REGION_NO_ACCESS;
  MPU_InitStruct.DisableExec = MPU_INSTRUCTION_ACCESS_DISABLE;
  MPU_InitStruct.IsShareable = MPU_ACCESS_SHAREABLE;
  MPU_InitStruct.IsCacheable = MPU_ACCESS_NOT_CACHEABLE;
  MPU_InitStruct.IsBufferable = MPU_ACCESS_NOT_BUFFERABLE;

  HAL_MPU_ConfigRegion(&MPU_InitStruct);
  // Explicit noncacheable DMA windows. BDMA buffers stay in D3 SRAM.
  MPU_InitStruct.Number = MPU_REGION_NUMBER1;
  MPU_InitStruct.BaseAddress = 0x24000000;
  MPU_InitStruct.Size = MPU_REGION_SIZE_128KB;
  MPU_InitStruct.SubRegionDisable = 0;
  MPU_InitStruct.TypeExtField = MPU_TEX_LEVEL1; // Normal, noncacheable memory
  MPU_InitStruct.AccessPermission = MPU_REGION_FULL_ACCESS;
  HAL_MPU_ConfigRegion(&MPU_InitStruct);
  MPU_InitStruct.Number = MPU_REGION_NUMBER2;
  MPU_InitStruct.BaseAddress = 0x38000000;
  MPU_InitStruct.Size = MPU_REGION_SIZE_16KB;
  HAL_MPU_ConfigRegion(&MPU_InitStruct);
  /* Enables the MPU */
  HAL_MPU_Enable(MPU_PRIVILEGED_DEFAULT);

}

void Error_Handler(void)
{
  /* USER CODE BEGIN Error_Handler_Debug */
  // This path also runs from faults/RTOS hooks: no I/O waits or scheduler calls.
  __disable_irq();
  __HAL_RCC_GPIOA_CLK_ENABLE();
  __HAL_RCC_GPIOC_CLK_ENABLE();
  __HAL_RCC_TIM1_CLK_ENABLE();
  __HAL_RCC_TIM8_CLK_ENABLE();
  TIM1->CR1 &= ~TIM_CR1_CEN;
  TIM8->CR1 &= ~TIM_CR1_CEN;
  TIM1->BDTR &= ~TIM_BDTR_MOE;
  TIM8->BDTR &= ~TIM_BDTR_MOE;
  GPIOC->BSRR = GD_nEN_Pin; // Disable gate drivers immediately.
  GPIOA->BSRR = static_cast<uint32_t>(DISCHARGE_Pin) << 16U;
  // Also establish output modes if a fatal error preceded MX_GPIO_Init().
  GPIOC->MODER = (GPIOC->MODER & ~(3UL << 16U)) | (1UL << 16U);
  GPIOA->MODER = (GPIOA->MODER & ~(3UL << 20U)) | (1UL << 20U);
  controller.charger.tx_data.enable = 0;
  __DSB();
  while (1) { __NOP(); }
  /* USER CODE END Error_Handler_Debug */
}
